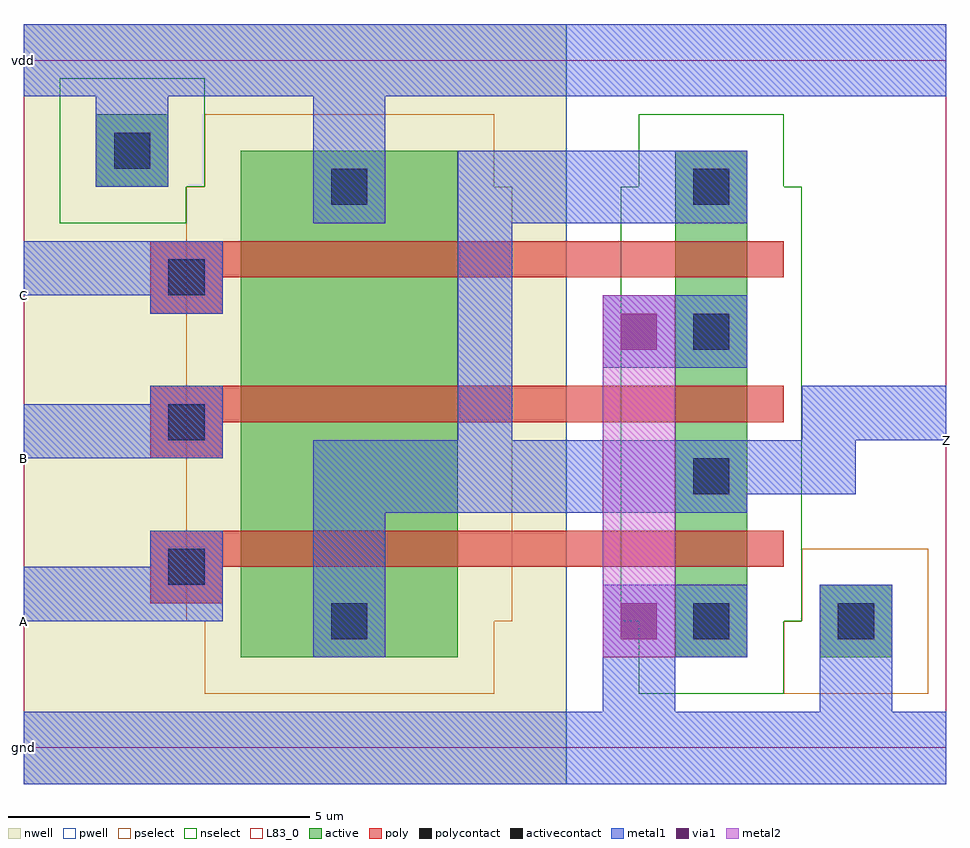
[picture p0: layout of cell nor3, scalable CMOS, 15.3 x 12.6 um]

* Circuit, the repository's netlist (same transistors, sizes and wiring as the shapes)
.SUBCKT nor3 A B C Z vdd gnd
M1 gnd A Z gnd n w=1.2u l=0.6u 
M2 Z B gnd gnd n w=1.2u l=0.6u 
M3 gnd C Z gnd n w=1.2u l=0.6u 
M4 vdd C net1 vdd p w=3.6u l=0.6u 
M5 net1 B net2 vdd p w=3.6u l=0.6u 
M6 net2 A Z vdd p w=3.6u l=0.6u 
.ENDS nor3

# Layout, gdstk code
import gdstk
lib = gdstk.Library(unit=1e-6, precision=1e-09)
def R(c, l, rs):  # rectangles x0, y0, x1, y1
    for r in rs: c.add(gdstk.rectangle(r[:2], r[2:], *l))
def A(c, l, x, y, w, h, nx, ny, dx, dy):  # array of equal rectangles
    R(c, l, [(x+i*dx, y+j*dy, x+i*dx+w, y+j*dy+h) for i in range(nx) for j in range(ny)])
pwell = (41, 0)
nwell = (42, 0)
active = (43, 0)
pselect = (44, 0)
nselect = (45, 0)
poly = (46, 0)
polycontact = (47, 0)
activecontact = (48, 0)
metal1 = (49, 0)
via1 = (50, 0)
metal2 = (51, 0)
L83_0 = (83, 0)

nor3 = lib.new_cell('nor3')
R(nor3, pwell, [(9,-0.6,15.3,12)])
R(nor3, nwell, [(0,-0.6,9,12)])
R(nor3, active, [(3.6,1.5,7.2,9.9), (10.8,1.5,12,9.9), (13.2,1.5,14.4,2.7), (1.2,9.3,2.4,10.5)])
R(nor3, pselect, [(3,0.9,7.8,2.1), (12.6,0.9,15,2.1), (2.7,2.1,8.1,9.3), (12.9,2.1,15,3.3), (3,9.3,7.8,10.5)])
R(nor3, nselect, [(10.2,0.9,12.6,2.1), (9.9,2.1,12.9,9.3), (0.6,8.7,2.7,9.3), (0.6,9.3,3,11.1), (10.2,9.3,12.6,10.5)])
A(nor3, poly, 2.1, 2.4, 1.2, 0.6, 1, 3, 0, 2.4)
A(nor3, poly, 2.1, 3, 10.5, 0.6, 1, 3, 0, 2.4)
A(nor3, polycontact, 2.4, 2.7, 0.6, 0.6, 1, 3, 0, 2.4)
A(nor3, activecontact, 11.1, 1.8, 0.6, 0.6, 1, 4, 0, 2.4)
R(nor3, activecontact, [(5.1,1.8,5.7,2.4), (13.5,1.8,14.1,2.4), (5.1,9,5.7,9.6), (1.5,9.6,2.1,10.2)])
A(nor3, metal1, 0, 2.1, 3.3, 0.9, 1, 3, 0, 2.7)
R(nor3, metal1, [(0,-0.6,15.3,0.6), (9.6,0.6,10.8,1.5), (13.2,0.6,14.4,2.7), (4.8,1.5,6,3.9), (9.6,1.5,12,2.7), (2.1,3,3.3,3.6), (4.8,3.9,12,4.2), (4.8,4.2,13.8,5.1), (7.2,5.1,8.1,8.7), (12.9,5.1,15.3,6), (2.1,5.7,3.3,6), (9.6,6.3,12,7.5), (2.1,7.2,3.3,7.5), (4.8,8.7,6,10.8), (7.2,8.7,12,9.9), (1.2,9.3,2.4,10.8), (0,10.8,15.3,12)])
R(nor3, via1, [(9.9,1.8,10.5,2.4), (9.9,6.6,10.5,7.2)])
R(nor3, metal2, [(9.6,1.5,10.8,7.5)])
R(nor3, L83_0, [(0,0,15.3,11.4)])
nor3.add(gdstk.Label('gnd', (0,0), layer=49, texttype=0))
nor3.add(gdstk.Label('vdd', (0,11.4), layer=49, texttype=0))
nor3.add(gdstk.Label('C', (0,7.5), layer=49, texttype=0))
nor3.add(gdstk.Label('Z', (15.3,5.1), layer=49, texttype=0))
nor3.add(gdstk.Label('B', (0,4.8), layer=49, texttype=0))
nor3.add(gdstk.Label('A', (0,2.1), layer=49, texttype=0))

lib.write_gds('nor3.gds')
